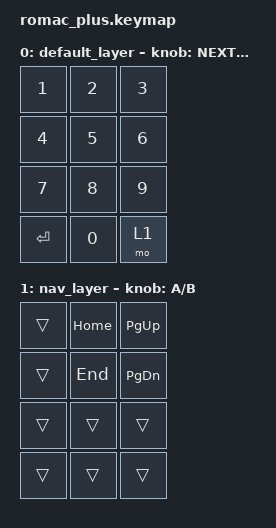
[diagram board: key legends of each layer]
/*
 * Copyright (c) 2020 The ZMK Contributors
 *
 * SPDX-License-Identifier: MIT
 */

#include <behaviors.dtsi>
#include <dt-bindings/zmk/bt.h>
#include <dt-bindings/zmk/keys.h>

/ {
    keymap {
        compatible = "zmk,keymap";

        default_layer {
// --------------------------
// | 1      |  2  |  3      |
// | 4      |  5  |  6      |
// | 7      |  8  |  9      |
// | RET    |  0  |  MO(1)  |
// --------------------------
            bindings = <
    &kp N1   &kp N2   &kp N3
    &kp N4   &kp N5   &kp N6
    &kp N7   &kp N8   &kp N9
    &kp RET  &kp N0   &mo 1
            >;

            sensor-bindings = <&inc_dec_kp C_NEXT C_PREV>;
        };

         nav_layer {
// --------------------------
// | _      |  HOME |  PGUP |
// | _      |  END  |  PGDN |
// | _      |  _    |  _    |
// | _      |  _    |  _    |
// --------------------------
             bindings = <
     &trans     &kp HOME   &kp PG_UP
     &trans     &kp END    &kp PG_DN
     &trans     &trans     &trans
     &trans     &trans     &trans
             >;

             sensor-bindings = <&inc_dec_kp A B>;
         };
    };
};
